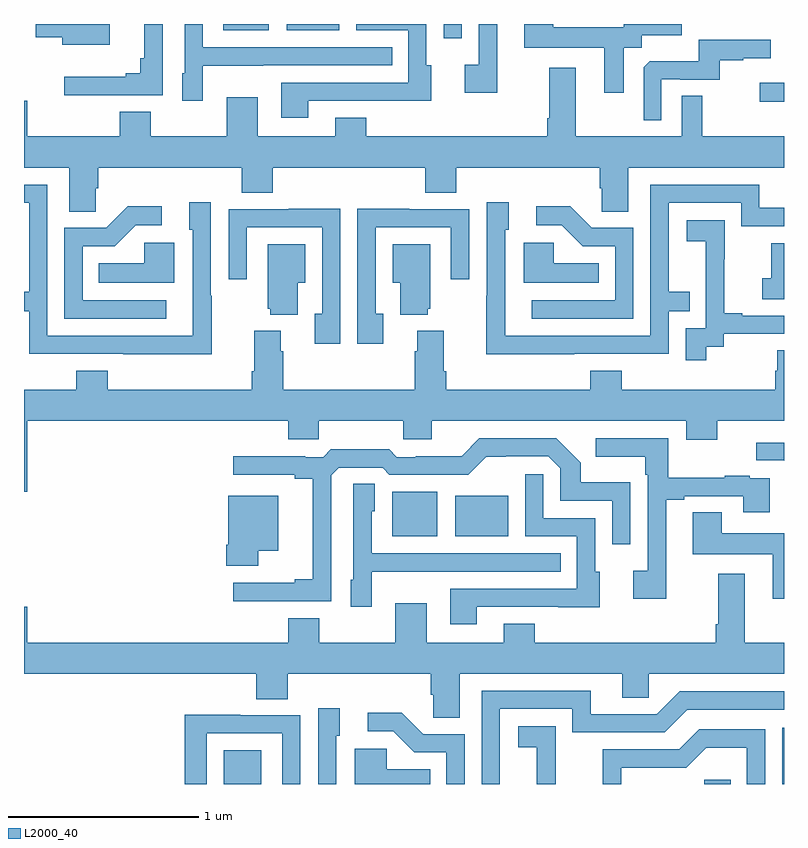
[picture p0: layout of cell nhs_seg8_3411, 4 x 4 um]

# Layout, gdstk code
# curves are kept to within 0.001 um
import gdstk
lib = gdstk.Library(unit=1e-6, precision=1e-09)
def R(c, l, rs):  # rectangles x0, y0, x1, y1
    for r in rs: c.add(gdstk.rectangle(r[:2], r[2:], *l))
def P(c, l, *ps):  # polygons
    for p in ps: c.add(gdstk.Polygon(p, *l))
L2000_40 = (2000, 40)

nhs_seg8_3411 = lib.new_cell('nhs_seg8_3411')
R(nhs_seg8_3411, L2000_40, [(322.052,1135.9,322.249,1136.077), (324.579,1135.9,324.719,1135.923), (324.99,1135.9,325,1136.197), (322.937,1137.203,323.176,1137.439), (323.27,1137.203,323.548,1137.418), (324.873,1139.492,325,1139.59), (323.208,1139.826,323.304,1139.9), (322.049,1139.867,322.288,1139.9), (322.382,1139.867,322.66,1139.9)])
P(nhs_seg8_3411, L2000_40, [(322.495,1139.496),(322.925,1139.496),(322.925,1139.495),(323.143,1139.495),(323.143,1139.682),(323.118,1139.682),(323.118,1139.9),(322.749,1139.9),(322.749,1139.868),(323.022,1139.868),(323.022,1139.592),(322.355,1139.592),(322.355,1139.406),(322.495,1139.406)],
  [(321.729,1139.9),(321.632,1139.9),(321.632,1139.719),(321.613,1139.719),(321.613,1139.642),(321.536,1139.642),(321.536,1139.623),(321.213,1139.623),(321.213,1139.526),(321.729,1139.526)],
  [(321.942,1139.681),(322.259,1139.681),(322.259,1139.682),(322.937,1139.682),(322.937,1139.778),(321.942,1139.778),(321.942,1139.9),(321.846,1139.9),(321.846,1139.64),(321.833,1139.64),(321.833,1139.496),(321.942,1139.496)],
  [(323.491,1139.9),(323.394,1139.9),(323.394,1139.686),(323.319,1139.686),(323.319,1139.538),(323.491,1139.538)],
  [(324.157,1139.776),(324.252,1139.776),(324.252,1139.84),(324.463,1139.84),(324.463,1139.9),(324.156,1139.9),(324.156,1139.884),(323.785,1139.884),(323.785,1139.9),(323.633,1139.9),(323.633,1139.774),(324.053,1139.774),(324.053,1139.538),(324.157,1139.538)],
  [(321.451,1139.9),(321.063,1139.9),(321.063,1139.831),(321.2,1139.831),(321.2,1139.792),(321.451,1139.792)],
  [(324.354,1139.61),(324.454,1139.61),(324.454,1139.607),(324.662,1139.607),(324.662,1139.709),(324.785,1139.709),(324.785,1139.72),(324.929,1139.72),(324.929,1139.817),(324.552,1139.817),(324.552,1139.705),(324.293,1139.705),(324.261,1139.673),(324.261,1139.393),(324.354,1139.393)],
  [(321.378,1139.035),(321.392,1139.035),(321.392,1139.144),(322.145,1139.144),(322.145,1139.011),(322.31,1139.011),(322.31,1139.144),(323.111,1139.144),(323.111,1139.011),(323.276,1139.011),(323.276,1139.144),(324.029,1139.144),(324.029,1139.035),(324.042,1139.035),(324.042,1138.912),(324.181,1138.912),(324.181,1139.144),(325,1139.144),(325,1139.308),(324.571,1139.308),(324.571,1139.522),(324.462,1139.522),(324.462,1139.308),(323.905,1139.308),(323.905,1139.671),(323.765,1139.671),(323.765,1139.404),(323.753,1139.404),(323.753,1139.308),(322.801,1139.308),(322.801,1139.407),(322.637,1139.407),(322.637,1139.308),(322.231,1139.308),(322.231,1139.515),(322.067,1139.515),(322.067,1139.308),(321.667,1139.308),(321.667,1139.437),(321.503,1139.437),(321.503,1139.308),(321.016,1139.308),(321.016,1139.497),(321,1139.497),(321,1139.144),(321.239,1139.144),(321.239,1138.912),(321.378,1138.912)],
  [(321.987,1138.469),(321.984,1138.469),(321.984,1138.963),(321.869,1138.963),(321.869,1138.818),(321.888,1138.818),(321.888,1138.508),(321.887,1138.508),(321.887,1138.26),(321.123,1138.26),(321.123,1139.055),(321,1139.055),(321,1138.959),(321.027,1138.959),(321.027,1138.49),(321,1138.49),(321,1138.389),(321.027,1138.389),(321.027,1138.164),(321.523,1138.164),(321.523,1138.163),(321.987,1138.163)],
  [(323.897,1138.164),(324.393,1138.164),(324.393,1138.389),(324.503,1138.389),(324.503,1138.49),(324.393,1138.49),(324.393,1138.959),(324.774,1138.959),(324.774,1138.836),(325,1138.836),(325,1138.932),(324.871,1138.932),(324.871,1139.055),(324.297,1139.055),(324.297,1138.26),(323.533,1138.26),(323.533,1138.514),(323.532,1138.514),(323.532,1138.818),(323.551,1138.818),(323.551,1138.963),(323.436,1138.963),(323.436,1138.469),(323.434,1138.469),(323.434,1138.163),(323.897,1138.163)],
  [(321.748,1138.446),(321.309,1138.446),(321.309,1138.731),(321.478,1138.731),(321.589,1138.842),(321.724,1138.842),(321.724,1138.94),(321.545,1138.94),(321.432,1138.827),(321.213,1138.827),(321.213,1138.35),(321.748,1138.35)],
  [(324.207,1138.827),(323.988,1138.827),(323.875,1138.94),(323.697,1138.94),(323.697,1138.842),(323.831,1138.842),(323.942,1138.731),(324.111,1138.731),(324.111,1138.446),(323.673,1138.446),(323.673,1138.35),(324.207,1138.35)],
  [(322.891,1138.374),(322.851,1138.374),(322.851,1138.83),(323.247,1138.83),(323.247,1138.557),(323.343,1138.557),(323.343,1138.926),(323.027,1138.926),(323.027,1138.928),(322.755,1138.928),(322.755,1138.218),(322.891,1138.218)],
  [(322.665,1138.928),(322.393,1138.928),(322.393,1138.926),(322.077,1138.926),(322.077,1138.557),(322.173,1138.557),(322.173,1138.83),(322.569,1138.83),(322.569,1138.374),(322.529,1138.374),(322.529,1138.218),(322.665,1138.218)],
  [(324.592,1138.201),(324.684,1138.201),(324.684,1138.269),(325,1138.269),(325,1138.365),(324.781,1138.365),(324.781,1138.378),(324.686,1138.378),(324.686,1138.661),(324.687,1138.661),(324.687,1138.867),(324.489,1138.867),(324.489,1138.757),(324.587,1138.757),(324.587,1138.529),(324.588,1138.529),(324.588,1138.299),(324.483,1138.299),(324.483,1138.131),(324.592,1138.131)],
  [(321.79,1138.75),(321.633,1138.75),(321.633,1138.642),(321.394,1138.642),(321.394,1138.538),(321.79,1138.538)],
  [(324.026,1138.642),(323.787,1138.642),(323.787,1138.75),(323.63,1138.75),(323.63,1138.538),(324.026,1138.538)],
  [(325,1138.746),(324.934,1138.746),(324.934,1138.561),(324.885,1138.561),(324.885,1138.452),(325,1138.452)],
  [(323.126,1138.401),(323.137,1138.401),(323.137,1138.741),(322.94,1138.741),(322.94,1138.538),(322.979,1138.538),(322.979,1138.37),(323.126,1138.37)],
  [(322.441,1138.538),(322.48,1138.538),(322.48,1138.741),(322.283,1138.741),(322.283,1138.401),(322.295,1138.401),(322.295,1138.37),(322.441,1138.37)],
  [(321.016,1137.812),(322.391,1137.812),(322.391,1137.714),(322.551,1137.714),(322.551,1137.812),(322.996,1137.812),(322.996,1137.714),(323.146,1137.714),(323.146,1137.812),(324.485,1137.812),(324.485,1137.713),(324.649,1137.713),(324.649,1137.812),(325,1137.812),(325,1138.184),(324.965,1138.184),(324.965,1138.074),(324.953,1138.074),(324.953,1137.976),(324.146,1137.976),(324.146,1138.075),(323.981,1138.075),(323.981,1137.976),(323.222,1137.976),(323.222,1138.072),(323.209,1138.072),(323.209,1138.285),(323.069,1138.285),(323.069,1138.178),(323.057,1138.178),(323.057,1137.976),(322.364,1137.976),(322.364,1138.178),(322.351,1138.178),(322.351,1138.285),(322.211,1138.285),(322.211,1138.072),(322.199,1138.072),(322.199,1137.976),(321.44,1137.976),(321.44,1138.075),(321.275,1138.075),(321.275,1137.976),(321,1137.976),(321,1137.438),(321.016,1137.438)],
  [(324.379,1137.396),(324.475,1137.396),(324.475,1137.414),(324.785,1137.414),(324.785,1137.33),(324.925,1137.33),(324.925,1137.51),(324.821,1137.51),(324.821,1137.523),(324.689,1137.523),(324.689,1137.512),(324.391,1137.512),(324.391,1137.72),(324.009,1137.72),(324.009,1137.623),(324.27,1137.623),(324.27,1137.527),(324.282,1137.527),(324.282,1137.022),(324.207,1137.022),(324.207,1136.874),(324.379,1136.874)],
  [(322.617,1137.525),(322.656,1137.564),(322.887,1137.564),(322.923,1137.528),(323.337,1137.528),(323.432,1137.623),(323.76,1137.624),(323.823,1137.561),(323.823,1137.39),(324.096,1137.39),(324.096,1137.162),(324.192,1137.162),(324.192,1137.487),(323.931,1137.487),(323.931,1137.59),(323.8,1137.72),(323.397,1137.72),(323.303,1137.626),(323.062,1137.626),(323.062,1137.621),(322.962,1137.621),(322.923,1137.661),(322.615,1137.661),(322.575,1137.621),(322.481,1137.621),(322.481,1137.626),(322.101,1137.626),(322.101,1137.528),(322.424,1137.528),(322.424,1137.506),(322.52,1137.506),(322.52,1136.978),(322.424,1136.978),(322.424,1136.958),(322.101,1136.958),(322.101,1136.862),(322.617,1136.862)],
  [(325,1137.697),(324.855,1137.697),(324.855,1137.603),(324.999,1137.603),(325,1137.602)],
  [(323.383,1136.832),(323.813,1136.832),(323.813,1136.831),(324.031,1136.831),(324.031,1137.018),(324.006,1137.018),(324.006,1137.3),(323.733,1137.3),(323.733,1137.529),(323.637,1137.529),(323.637,1137.204),(323.91,1137.204),(323.91,1136.928),(323.243,1136.928),(323.243,1136.742),(323.383,1136.742)],
  [(322.83,1137.017),(323.147,1137.017),(323.147,1137.018),(323.825,1137.018),(323.825,1137.114),(322.83,1137.114),(322.83,1137.336),(322.846,1137.336),(322.846,1137.479),(322.734,1137.479),(322.734,1136.976),(322.721,1136.976),(322.721,1136.832),(322.83,1136.832)],
  [(322.234,1137.128),(322.339,1137.128),(322.339,1137.418),(322.076,1137.418),(322.076,1137.16),(322.064,1137.16),(322.064,1137.048),(322.234,1137.048)],
  [(325,1137.22),(324.673,1137.22),(324.673,1137.329),(324.521,1137.329),(324.521,1137.11),(324.941,1137.11),(324.941,1136.874),(325,1136.874)],
  [(323.293,1136.48),(324.149,1136.48),(324.149,1136.353),(324.288,1136.353),(324.288,1136.48),(325,1136.48),(325,1136.644),(324.793,1136.644),(324.793,1137.007),(324.653,1137.007),(324.653,1136.74),(324.641,1136.74),(324.641,1136.644),(323.689,1136.644),(323.689,1136.743),(323.525,1136.743),(323.525,1136.644),(323.119,1136.644),(323.119,1136.851),(322.955,1136.851),(322.955,1136.644),(322.555,1136.644),(322.555,1136.773),(322.391,1136.773),(322.391,1136.644),(321.016,1136.644),(321.016,1136.833),(321,1136.833),(321,1136.48),(322.223,1136.48),(322.223,1136.347),(322.388,1136.347),(322.388,1136.48),(323.141,1136.48),(323.141,1136.371),(323.154,1136.371),(323.154,1136.248),(323.293,1136.248)],
  [(323.505,1136.295),(323.886,1136.295),(323.886,1136.172),(324.372,1136.172),(324.492,1136.292),(325,1136.292),(325,1136.388),(324.45,1136.388),(324.33,1136.268),(323.983,1136.268),(323.983,1136.391),(323.409,1136.391),(323.409,1135.9),(323.505,1135.9)],
  [(322.644,1136.154),(322.663,1136.154),(322.663,1136.299),(322.548,1136.299),(322.548,1135.9),(322.644,1135.9)],
  [(323.319,1136.163),(323.1,1136.163),(322.987,1136.276),(322.809,1136.276),(322.809,1136.178),(322.943,1136.178),(323.054,1136.067),(323.223,1136.067),(323.223,1135.9),(323.319,1135.9)],
  [(321.963,1136.166),(322.359,1136.166),(322.359,1135.9),(322.455,1135.9),(322.455,1136.262),(322.139,1136.262),(322.139,1136.264),(321.847,1136.264),(321.847,1135.9),(321.963,1135.9)],
  [(323.798,1135.997),(323.799,1135.997),(323.799,1136.203),(323.601,1136.203),(323.601,1136.093),(323.699,1136.093),(323.699,1135.9),(323.798,1135.9)],
  [(324.144,1135.986),(324.486,1135.986),(324.59,1136.09),(324.804,1136.09),(324.804,1135.9),(324.9,1135.9),(324.9,1136.187),(324.554,1136.187),(324.449,1136.082),(324.046,1136.082),(324.046,1135.9),(324.144,1135.9)],
  [(323.138,1135.978),(322.908,1135.978),(322.908,1136.086),(322.742,1136.086),(322.742,1135.9),(323.138,1135.9)])

lib.write_gds('nhs_seg8_3411.gds')
